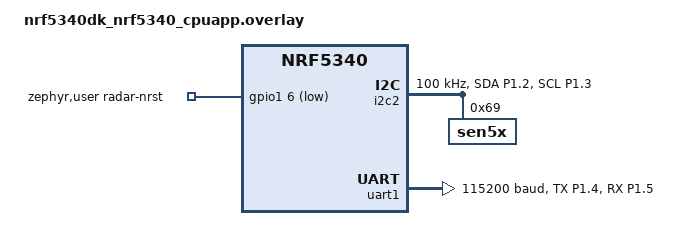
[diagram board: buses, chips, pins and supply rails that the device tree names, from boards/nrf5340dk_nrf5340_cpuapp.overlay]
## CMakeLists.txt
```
cmake_minimum_required(VERSION 3.20.0)
find_package(Zephyr REQUIRED HINTS $ENV{ZEPHYR_BASE})

project(nRF5340_Presence)

target_sources(app PRIVATE
    src/main.c
    src/radar.c
    src/sen5x.c
    src/tlv.c
    src/frame.c
    src/store.c
    src/ble.c
)
target_include_directories(app PRIVATE src)
```

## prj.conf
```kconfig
CONFIG_GPIO=y

# SEN5x on i2c2. No CONFIG_SENSOR: there is no in-tree SEN5x driver and
# src/sen5x.c talks to it directly, so the sensor subsystem would be dead code.
CONFIG_I2C=y

# uart1 -> IWRL6432. Interrupt driven with a ring buffer: at 115200 the byte
# rate is ~11 kB/s worst case, which the app core absorbs without DMA.
# ponytail: if the profile ever gets heavy enough to overrun, switch to
# CONFIG_UART_ASYNC_API and double-buffered DMA rather than raising the ring.
CONFIG_SERIAL=y
CONFIG_UART_INTERRUPT_DRIVEN=y
CONFIG_RING_BUFFER=y

# NVS write can run from the main thread here (nothing is time critical), but
# it plus printk wants more than the 1K default.
CONFIG_MAIN_STACK_SIZE=2048

# Occupancy records in internal flash (storage_partition, 160K)
CONFIG_FLASH=y
CONFIG_FLASH_MAP=y
CONFIG_FLASH_PAGE_LAYOUT=y
CONFIG_NVS=y
CONFIG_MPU_ALLOW_FLASH_WRITE=y

# Device id ("PR" + 6 hex of the factory id) for the frame and advertising name
CONFIG_HWINFO=y

# BLE peripheral. The controller runs on the network core - see Kconfig.sysbuild.
CONFIG_BT=y
CONFIG_BT_PERIPHERAL=y
CONFIG_BT_MAX_CONN=1
CONFIG_BT_DEVICE_NAME="SNTL"
CONFIG_BT_DEVICE_NAME_DYNAMIC=y
CONFIG_BT_DEVICE_NAME_MAX=16
CONFIG_HEAP_MEM_POOL_SIZE=2048

# App asks for MTU 247 after connecting; smaller still works, just slower.
CONFIG_BT_L2CAP_TX_MTU=247
CONFIG_BT_BUF_ACL_RX_SIZE=251
CONFIG_BT_BUF_ACL_TX_SIZE=251
CONFIG_BT_ATT_PREPARE_COUNT=2
```

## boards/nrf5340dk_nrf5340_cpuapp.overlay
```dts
/*
 * nRF5340 DK <-> IWRL6432BOOST (uart1) + Sensirion SEN5x (i2c2).
 *
 *   SEN5x pin      nRF5340 DK
 *   1 VDD      ->  5V   (P20 power header. NOT 3V3 - the fan and laser want
 *                        5 V +-10 %, and the DK's 5V comes straight off USB)
 *   2 GND      --  GND
 *   3 SDA      <-> P1.02  (Arduino "SDA")
 *   4 SCL      <-  P1.03  (Arduino "SCL")
 *   5 SEL      --  GND    (selects I2C, and it must already be low when the
 *                          sensor powers up - wire it, do not strap it later)
 *   6 NC       --  leave it
 *
 * Logic is 3.3 V tolerant, so no level shifter even though VDD is 5 V. The
 * datasheet asks for external 10k pull-ups on SDA/SCL; bias-pull-up below uses
 * the nRF's own ~13k, which is enough on a short bench lead and marginal on a
 * long one. Fit the 10k for anything that leaves the desk.
 *
 * Keep the shield of the sensor floating (datasheet 4): its metal can is tied
 * to pin 2 internally, and giving that a second path to ground can push current
 * through the case.
 *
 * Three wires plus ground. Two are not enough: the demo cannot be reconfigured
 * without a reset, so the nRF5340 has to drive NRST itself. Both sides are
 * 3.3 V logic, so no level shifter.
 *
 * All four come off the EVM's LP/BP connector (J8/J9) - no soldering. SWRU596
 * Figure 3-5 shows UART, RESET, SPI, I2C and SOP0/SOP1 routed there.
 *
 * Arduino labels are from the DK's own gpio-map (nrf5340dk_common.dtsi), and
 * they do not track the port pin numbers: D2 is P1.04, D3 is P1.05, D4 is
 * P1.06. Check that map before wiring by the silk screen - our TX landing on
 * the radar's TX gives a dead link that looks exactly like a missing ground.
 *
 *   nRF5340 DK          IWRL6432BOOST
 *   P1.04 (D2, TX)  ->  J8 pin 7   (DCA_LP_RS232_RX, radar input)
 *   P1.05 (D3, RX)  <-  J8 pin 5   (DCA_LP_RS232_TX, radar output)
 *   P1.06 (D4)      ->  J9 pin 10  (RADAR_NRST_2, open drain, active low)
 *   GND             --  J8 pin 4   (or J9 pin 2)
 *
 * J8 pin 4 is the ONLY ground on that header. Pin 2 is MCU_5V and pin 1 is
 * MCU_3V3 - both are LaunchPad-side power inputs, and both feed through DNP
 * resistors (R87, R132), so they sit floating and read as nothing. Grounding
 * there costs no damage and gives no ground: the two boards end up with no
 * shared reference and the link is dead with rx=0, which looks identical to
 * a wrong data pin. Schematic sheet 15 (SWRR180), verified pin by pin.
 *
 * Free pins were picked around what the DK already uses: LEDs P0.28-31,
 * buttons P0.08/09/23/24, i2c1 P1.02/03, spi4 P1.13-15. P1.00/P1.01 (D0/D1)
 * were the original choice and work equally well - moved off them only to rule
 * the header out during bring-up.
 *
 * NOTE: set S1.4 = ON on the EVM. It is a DIP switch, not a jumper. Per
 * SWRU596 Figure 4-1, S1.4 OFF sends the UART to XDS_RS232 (the on-board
 * XDS110 USB bridge) and S1.4 ON sends it to DCA_LP_RS232, which is the net
 * that reaches J8/J9. Left OFF, the XDS110 drives the radar's RX line and
 * fights this board's TX. J8/J9 pin numbers are not in SWRU596 - buzz them
 * out or read the EVM schematic before wiring.
 */
#include <zephyr/dt-bindings/pinctrl/nrf-pinctrl.h>
#include <zephyr/dt-bindings/gpio/gpio.h>

/ {
	/*
	 * NRST lives under zephyr,user rather than a node of its own: no driver
	 * owns this pin, radar.c just takes the gpio spec off it, and a bare
	 * node with no compatible has no binding, so its gpios cells never get
	 * generated. Active low because NRST is; the pin is configured open
	 * drain in code so the EVM's own reset circuit is never fought.
	 */
	zephyr,user {
		radar-nrst-gpios = <&gpio1 6 GPIO_ACTIVE_LOW>;   /* D4 */
	};
};

&pinctrl {
	uart1_radar: uart1_radar {
		group1 {
			psels = <NRF_PSEL(UART_TX, 1, 4)>;   /* D2 */
		};
		group2 {
			psels = <NRF_PSEL(UART_RX, 1, 5)>;   /* D3 */
			/*
			 * Idle high while the radar is in reset. Note R95/R96
			 * on the EVM already pull both RS232 lines to 3V3, but
			 * at 100k - too weak to hold the line against this
			 * pin's own pull-down, so the bias here has to be the
			 * pull-up and not merely absent.
			 *
			 * Flip this to bias-pull-down when hunting for the
			 * right hole on J8: radar.c prints rxpin= on a failed
			 * CLI line, and against a pull-down only an actively
			 * driven pin reads high. On J8 that is exactly two
			 * pins - 5 (the radar's TX) and 14 (PGOOD) - which is
			 * enough to fix both the column and the pin 1 end
			 * without a multimeter. With the pull-up in place
			 * every hole reads high and the readout is useless.
			 */
			bias-pull-up;
		};
	};

	uart1_radar_sleep: uart1_radar_sleep {
		group1 {
			psels = <NRF_PSEL(UART_TX, 1, 4)>,
				<NRF_PSEL(UART_RX, 1, 5)>;
			low-power-enable;
		};
	};

	/*
	 * Same two physical pins the DK silk-screens as SDA/SCL - only the
	 * peripheral behind them changes, since nRF pins are fully muxable.
	 */
	i2c2_sen5x: i2c2_sen5x {
		group1 {
			psels = <NRF_PSEL(TWIM_SDA, 1, 2)>,
				<NRF_PSEL(TWIM_SCL, 1, 3)>;
			bias-pull-up;
		};
	};

	i2c2_sen5x_sleep: i2c2_sen5x_sleep {
		group1 {
			psels = <NRF_PSEL(TWIM_SDA, 1, 2)>,
				<NRF_PSEL(TWIM_SCL, 1, 3)>;
			low-power-enable;
		};
	};
};

/*
 * 115200 and no flow control. The demo's cfg can switch itself to 1250000, but
 * this build does not send that line: Zephyr's nrfx uart driver has no table
 * entry for 1250000, and with the range profile TLV turned off the stream is a
 * few hundred bytes per frame at 4 fps - about 3% of what 115200 carries.
 */
/*
 * On the nRF5340, uart1/spi1/i2c1 are three faces of one peripheral instance
 * (SERIAL1 at 0x40009000). The DK board files leave i2c1 enabled for the
 * Arduino header, so with uart1 also on it the two nodes claim the same
 * hardware. That used to be harmless here because CONFIG_I2C was off; the
 * SEN5x turned it on, which is exactly the moment the two start fighting. The
 * sensor therefore hangs off i2c2 (SERIAL2 at 0x4000B000, otherwise unused on
 * this board) driven out to the same two header pins.
 */
&i2c1 {
	status = "disabled";
};

&i2c2 {
	status = "okay";
	/* Standard mode is all the SEN5x supports, and it does not clock
	 * stretch (datasheet 6). */
	clock-frequency = <100000>;
	pinctrl-0 = <&i2c2_sen5x>;
	pinctrl-1 = <&i2c2_sen5x_sleep>;
	pinctrl-names = "default", "sleep";

	/* No compatible: there is no in-tree SEN5x driver and src/sen5x.c
	 * speaks the three commands it needs directly. The node exists so the
	 * address and the bus come from devicetree rather than a #define. */
	sen5x: sen5x@69 {
		reg = <0x69>;
	};
};

&uart1 {
	status = "okay";
	current-speed = <115200>;
	pinctrl-0 = <&uart1_radar>;
	pinctrl-1 = <&uart1_radar_sleep>;
	pinctrl-names = "default", "sleep";
	/delete-property/ hw-flow-control;
};

/*
 * 24 h of records is 2880 * (24 B struct + 8 B NVS overhead) = ~90 KB at the
 * 30 s test period, so the board default 32 KB storage_partition would not even
 * hold the data, let alone leave room for garbage collection. Take the space
 * from slot1_partition, the MCUboot secondary slot, which is dead weight here -
 * this build has no DFU.
 *
 * 90 KB of 160 KB is the tightest this gets: at the intended 60 s period it is
 * 45 KB. NVS needs a spare sector to garbage-collect into and gets 17 of them
 * here, so even the test period has margin - but do not shorten the period
 * further without redoing this sum.
 *
 *   slot1   0x84000 .. 0xD8000  (336K, was 464K)
 *   storage 0xD8000 .. 0x100000 (160K, was 32K)
 */
&slot1_partition {
	reg = <0x00084000 0x00054000>;
};

&storage_partition {
	reg = <0x000d8000 0x00028000>;
};
```

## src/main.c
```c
/*
 * Presence + air quality node: IWRL6432BOOST mmWave radar over uart1, Sensirion
 * SEN5x over i2c2.
 *
 * - one record per STORE_PERIOD_S into flash (24 h ring), handed out over BLE
 * - the radar does all the signal processing on its own Cortex-M4F and sends
 *   only results, so this core does framing, counting and storage - nothing
 *   here is real-time critical
 * - the two sensors fail independently and each has its own flag; neither
 *   failure suppresses the other's numbers
 *
 * There is no calendar clock on this chip: RTC0/RTC1 are plain 32.768 kHz
 * counters and the DK has no battery-backed RTC, so every record carries
 * SNTL_FLAG_RTC_UNSET and ts is device seconds since first boot. The receiver
 * back-computes: real time = download time - (now_ts - record_ts).
 */
#include <zephyr/kernel.h>
#include <zephyr/drivers/gpio.h>
#include <zephyr/sys/printk.h>

#include "ble.h"
#include "frame.h"
#include "radar.h"
#include "sen5x.h"
#include "store.h"

/* DK "Button 1" (P0.23) - opens the BLE advertising window on press. */
static const struct gpio_dt_spec adv_btn = GPIO_DT_SPEC_GET(DT_ALIAS(sw0), gpios);
static struct gpio_callback adv_btn_cb;

/* DK "Button 2" - held at boot, runs probe_mode() instead of the app. */
static const struct gpio_dt_spec probe_btn = GPIO_DT_SPEC_GET(DT_ALIAS(sw1), gpios);

/*
 * Bring-up aid: find the right hole on the EVM's J8 header without a
 * multimeter. Reconfigures the uart1 RX pin as a plain input with a pull-down
 * and reports its level, so a hole that reads HIGH is one something is
 * actively driving. On a running EVM that is only the radar's TX, which idles
 * high - ground pins and the DNP pins all read low against the pull-down.
 * Touch the holes with the RX wire and watch.
 *
 * The uart1 driver has already claimed this pin through pinctrl by now; the
 * GPIO config below rewrites the same PIN_CNF register, and radar_start() is
 * never reached in this mode, so nothing fights over it.
 *
 * ponytail: pin hardcoded to match the uart1_radar RX psel in the overlay.
 * One pin used in one place - move both together if the RX pin moves.
 */
#define PROBE_PIN 5   /* P1.05, the uart1 RX pin */

static void probe_mode(void)
{
	const struct device *p1 = DEVICE_DT_GET(DT_NODELABEL(gpio1));
	int last = -1;

	printk("[PROBE] P1.05 as input with pull-down.\n");
	printk("[PROBE] touch J8 holes with the RX wire - HIGH means driven.\n");

	if (!device_is_ready(p1) ||
	    gpio_pin_configure(p1, PROBE_PIN, GPIO_INPUT | GPIO_PULL_DOWN)) {
		printk("[PROBE] cannot claim the pin\n");
		return;
	}
	while (1) {
		int v = gpio_pin_get_raw(p1, PROBE_PIN);

		if (v != last) {
			printk("[PROBE] %s\n",
			       v ? "HIGH  <-- driven, this is the hole" : "low");
			last = v;
		}
		k_msleep(200);
	}
}

/* No debounce: a bounce just re-arms the same 20 s window, which is what a
 * second press would do anyway. */
static void adv_btn_pressed(const struct device *dev, struct gpio_callback *cb, uint32_t pins)
{
	ARG_UNUSED(dev); ARG_UNUSED(cb); ARG_UNUSED(pins);
	ble_advertise_window();
}

static int adv_btn_init(void)
{
	int err;

	if (!gpio_is_ready_dt(&adv_btn)) {
		return -ENODEV;
	}
	err = gpio_pin_configure_dt(&adv_btn, GPIO_INPUT);
	if (err) {
		return err;
	}
	err = gpio_pin_interrupt_configure_dt(&adv_btn, GPIO_INT_EDGE_TO_ACTIVE);
	if (err) {
		return err;
	}
	gpio_init_callback(&adv_btn_cb, adv_btn_pressed, BIT(adv_btn.pin));
	return gpio_add_callback(adv_btn.port, &adv_btn_cb);
}

/* Turn the last window into one record and write it. */
static void window_flush(void)
{
	struct radar_window w;
	struct sen5x_window aq;
	struct sntl_record rec = { 0 };
	int err;

	radar_window_take(&w);
	sen5x_window_take(&aq);

	rec.headcount = w.headcount;
	rec.occ_s = w.occ_s;
	rec.dwell_s = w.dwell_s;

	rec.pm25 = aq.pm25;
	rec.pm10 = aq.pm10;
	rec.temp = aq.temp;
	rec.rh = aq.rh;
	rec.voc = aq.voc;

	if (!w.alive) {
		/* Tag it, never drop it - this is safety-management data. */
		rec.flags |= SNTL_FLAG_SENSOR_FAULT;
	}
	if (!aq.alive) {
		rec.flags |= SNTL_FLAG_AQ_FAULT;
	}
	if (!w.tracker) {
		/* headcount is a floor (0 or 1), not a count. */
		rec.flags |= SNTL_FLAG_NO_TRACKER;
	}
	rec.flags |= SNTL_FLAG_RTC_UNSET;   /* no time source on this board */
	/* DK runs off USB and has no battery gauge. Report full rather than a
	 * made up number; wire an ADC divider here for a real product. */
	rec.batt = 100;

	err = store_append(&rec);
	if (err) {
		printk("[STORE] append failed (%d)\n", err);
		return;
	}
	printk("[STORE] %us  headcount %u%s  occupied %us/%us  dwell %us",
	       rec.ts, rec.headcount, w.tracker ? "" : " (no tracker)",
	       rec.occ_s, STORE_PERIOD_S, rec.dwell_s);

	if (rec.pm25 == SNTL_AQ_UNKNOWN_U) {
		printk("  air: no data\n");
	} else {
		/* Split the sign off before dividing: -0.43 C is temp = -43, and
		 * -43/100 is 0, so "%d.%02d" would print it as 0.43. */
		int t = (rec.temp == SNTL_AQ_UNKNOWN_S) ? 0 : rec.temp;
		int ta = (t < 0) ? -t : t;

		printk("  pm2.5 %u.%u  pm10 %u.%u  %s%d.%02d C  %d.%d%%RH",
		       rec.pm25 / 10, rec.pm25 % 10, rec.pm10 / 10, rec.pm10 % 10,
		       (t < 0) ? "-" : "", ta / 100, ta % 100,
		       (rec.rh == SNTL_AQ_UNKNOWN_S) ? 0 : rec.rh / 100,
		       (rec.rh == SNTL_AQ_UNKNOWN_S) ? 0 : (rec.rh / 10) % 10);

		/* A SEN50 has no gas sensor, so this stays "--" there for good.
		 * On a SEN54/55 it climbs from 0 to about 100 over the first few
		 * minutes - that is the index algorithm learning its baseline,
		 * not a fault. */
		if (rec.voc == SNTL_AQ_UNKNOWN_S) {
			printk("  voc --");
		} else {
			printk("  voc %d.%d", rec.voc / 10, rec.voc % 10);
		}
		printk("%s\n", (rec.flags & SNTL_FLAG_AQ_FAULT) ? "  AQ_FAULT" : "");
	}
}

int main(void)
{
	int64_t next_tick;
	uint32_t sec = 0;
	int err;

	printk("\n");
	printk("========================================\n");
	printk("   Presence node: IWRL6432 mmWave\n");
	printk("========================================\n");

	/* gpio_pin_get_dt() is logical, and the DK's buttons are ACTIVE_LOW, so
	 * held reads 1. Not held: fall through and run the app as usual. */
	if (gpio_is_ready_dt(&probe_btn) &&
	    gpio_pin_configure_dt(&probe_btn, GPIO_INPUT) == 0 &&
	    gpio_pin_get_dt(&probe_btn) == 1) {
		probe_mode();   /* never returns */
	}

	err = store_init();
	if (err) {
		printk("[ERROR] store init failed (%d) - nothing will be recorded\n", err);
	} else {
		printk("[READY] store: next seq %u, oldest %u, t=%u s\n",
		       store_next_seq(), store_oldest_seq(), store_now());
	}

	err = ble_start();
	if (err) {
		printk("[ERROR] BLE start failed (%d)\n", err);
	}

	err = adv_btn_init();
	if (err) {
		printk("[WARN ] Button 1 not available (%d) - no way to advertise\n", err);
	}

	err = radar_start();
	if (err) {
		printk("[ERROR] radar start failed (%d) - check uart1 and NRST wiring\n", err);
	}

	/* Not fatal either: a node with a dead SEN5x still records occupancy,
	 * and every record it writes says so through SNTL_FLAG_AQ_FAULT. */
	err = sen5x_start();
	if (err) {
		printk("[ERROR] SEN5x start failed (%d) - air quality will read unknown\n", err);
	}

	/* Absolute cadence rather than k_msleep(1000) at the end, so a slow NVS
	 * write does not stretch the record period. */
	next_tick = k_uptime_get() + 1000;

	while (1) {
		/* ~20 ms on the bus; the absolute cadence below absorbs it. */
		sen5x_poll();

		if (++sec >= STORE_PERIOD_S) {
			sec = 0;
			window_flush();
		}

		int64_t delay = next_tick - k_uptime_get();

		if (delay > 0) {
			k_msleep((int32_t)delay);
		}
		next_tick += 1000;
	}

	return 0;
}
```

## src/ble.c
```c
#include <zephyr/kernel.h>
#include <zephyr/bluetooth/bluetooth.h>
#include <zephyr/bluetooth/conn.h>
#include <zephyr/bluetooth/gatt.h>
#include <zephyr/bluetooth/uuid.h>
#include <zephyr/drivers/hwinfo.h>
#include <zephyr/sys/printk.h>
#include <errno.h>
#include <stdio.h>
#include <string.h>

#include "ble.h"
#include "store.h"

/* NUS-shaped UUIDs but this is not NUS - the app keys off these exact values. */
#define SNTL_UUID_SVC  BT_UUID_128_ENCODE(0x6e400001, 0xb5a3, 0xf393, 0xe0a9, 0xe50e24dcca9e)
#define SNTL_UUID_CTRL BT_UUID_128_ENCODE(0x6e400002, 0xb5a3, 0xf393, 0xe0a9, 0xe50e24dcca9e)
#define SNTL_UUID_DATA BT_UUID_128_ENCODE(0x6e400003, 0xb5a3, 0xf393, 0xe0a9, 0xe50e24dcca9e)

static const struct bt_uuid_128 uuid_svc  = BT_UUID_INIT_128(SNTL_UUID_SVC);
static const struct bt_uuid_128 uuid_ctrl = BT_UUID_INIT_128(SNTL_UUID_CTRL);
static const struct bt_uuid_128 uuid_data = BT_UUID_INIT_128(SNTL_UUID_DATA);

static char device_id[SNTL_DEVICE_ID_LEN + 1];
static struct bt_conn *current_conn;
static volatile bool notify_enabled;

/* Dump runs on its own thread: it can take seconds over the air, and it must
 * not sit on the BLE RX callback. */
#define DUMP_STACK_SIZE 2048
#define DUMP_PRIORITY   7

K_SEM_DEFINE(dump_req, 0, 1);
static uint32_t dump_first_seq;

const char *ble_device_id(void)
{
	return device_id;
}

/* Prefix + 6 hex from the factory device id = exactly 8 bytes, so the frame
 * field and the advertising name are the same string with no truncation. */
static void device_id_init(void)
{
	uint8_t hw[8] = {0};
	ssize_t n = hwinfo_get_device_id(hw, sizeof(hw));
	uint32_t tail;

	if (n < 3) {
		tail = 0;
	} else {
		tail = ((uint32_t)hw[n - 3] << 16) | ((uint32_t)hw[n - 2] << 8) | hw[n - 1];
	}
	snprintf(device_id, sizeof(device_id), BLE_ID_PREFIX "%06X",
		 (unsigned int)(tail & 0xFFFFFF));
}

static const struct bt_data ad[] = {
	BT_DATA_BYTES(BT_DATA_FLAGS, (BT_LE_AD_GENERAL | BT_LE_AD_NO_BREDR)),
	BT_DATA_BYTES(BT_DATA_UUID128_ALL, SNTL_UUID_SVC),
};

/* Name goes in the scan response - the 128-bit UUID already fills the 31 byte
 * advertising payload. */
static struct bt_data sd[] = {
	BT_DATA(BT_DATA_NAME_COMPLETE, device_id, SNTL_DEVICE_ID_LEN),
};

static ssize_t ctrl_write(struct bt_conn *conn, const struct bt_gatt_attr *attr,
			  const void *buf, uint16_t len, uint16_t offset, uint8_t flags)
{
	uint32_t first_seq;

	ARG_UNUSED(conn); ARG_UNUSED(attr); ARG_UNUSED(flags);

	if (offset != 0) {
		return BT_GATT_ERR(BT_ATT_ERR_INVALID_OFFSET);
	}
	if (!sntl_parse_cmd(buf, len, &first_seq)) {
		return BT_GATT_ERR(BT_ATT_ERR_VALUE_NOT_ALLOWED);
	}

	dump_first_seq = first_seq;
	k_sem_give(&dump_req);
	printk("[BLE  ] dump requested from seq %u\n", first_seq);
	return len;
}

static void ccc_changed(const struct bt_gatt_attr *attr, uint16_t value)
{
	ARG_UNUSED(attr);
	notify_enabled = (value == BT_GATT_CCC_NOTIFY);
}

BT_GATT_SERVICE_DEFINE(sntl_svc,
	BT_GATT_PRIMARY_SERVICE(&uuid_svc),
	BT_GATT_CHARACTERISTIC(&uuid_ctrl.uuid,
			       BT_GATT_CHRC_WRITE, BT_GATT_PERM_WRITE,
			       NULL, ctrl_write, NULL),
	BT_GATT_CHARACTERISTIC(&uuid_data.uuid,
			       BT_GATT_CHRC_NOTIFY, BT_GATT_PERM_NONE,
			       NULL, NULL, NULL),
	BT_GATT_CCC(ccc_changed, BT_GATT_PERM_READ | BT_GATT_PERM_WRITE),
);

#define DATA_ATTR (&sntl_svc.attrs[3])

/* Push one chunk, retrying while the controller's buffers are full. */
static int notify_chunk(struct bt_conn *conn, const uint8_t *data, uint16_t len)
{
	int err;

	while ((err = bt_gatt_notify(conn, DATA_ATTR, data, len)) == -ENOMEM) {
		k_msleep(2);
		if (!current_conn) {
			return -ENOTCONN;
		}
	}
	return err;
}

/*
 * Stream one frame: header, then records, then CRC. The frame is emitted
 * straight into MTU-sized notifications with no per-chunk framing - the app
 * concatenates and uses the header's record count to find the end. A full day
 * is ~69 KB, so it is built incrementally rather than buffered.
 */
static void dump_run(struct bt_conn *conn, uint32_t first_seq)
{
	uint8_t buf[244];
	uint16_t mtu, chunk, fill = 0;
	uint16_t crc = 0xFFFF;
	uint32_t start, seq;
	uint16_t count;

	count = sntl_dump_range(first_seq, store_oldest_seq(), store_next_seq(), &start);

	mtu = bt_gatt_get_mtu(conn);
	chunk = (mtu > 3) ? (uint16_t)(mtu - 3) : 20;
	if (chunk > sizeof(buf)) {
		chunk = sizeof(buf);
	}

	/* header */
	sntl_encode_header(buf, count, device_id);
	fill = SNTL_HEADER_SIZE;
	crc = sntl_crc16(crc, buf, fill);

	for (seq = start; seq < start + count; seq++) {
		struct sntl_record rec;

		if (store_get(seq, &rec) != 0) {
			/* Recycled under us - send zeros rather than desync the
			 * record count the app is counting down. */
			memset(&rec, 0, sizeof(rec));
			rec.seq = seq;
			rec.flags = SNTL_FLAG_SENSOR_FAULT | SNTL_FLAG_AQ_FAULT;
			/* Zeroed air quality would read as pristine air. */
			rec.pm25 = SNTL_AQ_UNKNOWN_U;
			rec.pm10 = SNTL_AQ_UNKNOWN_U;
			rec.temp = SNTL_AQ_UNKNOWN_S;
			rec.rh   = SNTL_AQ_UNKNOWN_S;
			rec.voc  = SNTL_AQ_UNKNOWN_S;
		}

		if (fill + SNTL_RECORD_SIZE > chunk) {
			if (notify_chunk(conn, buf, fill) < 0) {
				return;
			}
			fill = 0;
		}
		sntl_encode_record(buf + fill, &rec);
		crc = sntl_crc16(crc, buf + fill, SNTL_RECORD_SIZE);
		fill += SNTL_RECORD_SIZE;
	}

	/* trailing CRC, split across a chunk boundary if it lands there */
	if (fill + SNTL_CRC_SIZE > chunk) {
		if (notify_chunk(conn, buf, fill) < 0) {
			return;
		}
		fill = 0;
	}
	buf[fill++] = (uint8_t)(crc & 0xFF);
	buf[fill++] = (uint8_t)(crc >> 8);

	if (notify_chunk(conn, buf, fill) < 0) {
		return;
	}
	printk("[BLE  ] dump sent: %u records from seq %u\n", count, start);
}

static void dump_thread(void *a, void *b, void *c)
{
	ARG_UNUSED(a); ARG_UNUSED(b); ARG_UNUSED(c);

	while (1) {
		k_sem_take(&dump_req, K_FOREVER);
		if (current_conn && notify_enabled) {
			dump_run(current_conn, dump_first_seq);
		}
	}
}

K_THREAD_DEFINE(dump_tid, DUMP_STACK_SIZE, dump_thread, NULL, NULL, NULL,
		DUMP_PRIORITY, 0, 0);

/* ---------------- advertising window ----------------
 * Connectable advertising stops by itself the moment a central connects, so
 * without the restart below the node would be invisible after the first
 * session until the next reset. The window bounds how long it stays visible. */
static volatile bool adv_window_open;

static void adv_start(void)
{
	int err = bt_le_adv_start(BT_LE_ADV_CONN_FAST_1, ad, ARRAY_SIZE(ad),
				  sd, ARRAY_SIZE(sd));

	if (err == -EALREADY) {
		return;
	}
	if (err) {
		printk("[BLE  ] adv start failed (%d)\n", err);
		return;
	}
	printk("[BLE  ] advertising as %s for %d s\n", device_id, BLE_ADV_WINDOW_S);
}

static void adv_on_fn(struct k_work *w)
{
	ARG_UNUSED(w);
	adv_start();
}
static K_WORK_DEFINE(adv_on_work, adv_on_fn);

static void adv_off_fn(struct k_work *w)
{
	ARG_UNUSED(w);
	adv_window_open = false;
	bt_le_adv_stop();   /* does not drop an established connection */
	printk("[BLE  ] advertising window closed\n");
}
static K_WORK_DELAYABLE_DEFINE(adv_off_work, adv_off_fn);

void ble_advertise_window(void)
{
	adv_window_open = true;
	k_work_submit(&adv_on_work);
	k_work_reschedule(&adv_off_work, K_SECONDS(BLE_ADV_WINDOW_S));
}

static void connected(struct bt_conn *conn, uint8_t err)
{
	if (err) {
		printk("[BLE  ] connect failed (%u)\n", err);
		return;
	}
	current_conn = bt_conn_ref(conn);
	printk("[BLE  ] connected\n");
}

static void disconnected(struct bt_conn *conn, uint8_t reason)
{
	ARG_UNUSED(conn);
	printk("[BLE  ] disconnected (0x%02x)\n", reason);
	notify_enabled = false;
	if (current_conn) {
		bt_conn_unref(current_conn);
		current_conn = NULL;
	}
	if (adv_window_open) {
		k_work_submit(&adv_on_work);   /* still inside the window */
	}
}

BT_CONN_CB_DEFINE(conn_callbacks) = {
	.connected = connected,
	.disconnected = disconnected,
};

int ble_start(void)
{
	int err;

	device_id_init();

	err = bt_enable(NULL);
	if (err) {
		return err;
	}

	err = bt_set_name(device_id);
	if (err) {
		printk("[BLE  ] bt_set_name failed (%d)\n", err);
	}

	printk("[READY] BLE up as %s - press Button 1 to advertise\n", device_id);
	return 0;
}
```

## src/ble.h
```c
/*
 * SNTL BLE GATT service: advertises, takes dump commands on the control
 * characteristic, streams frames out on the data characteristic.
 *
 * Same service and UUIDs as the air-quality node, so one app talks to both.
 * What differs is the device id prefix (below) and the frame version byte.
 */
#ifndef BLE_H_
#define BLE_H_

#include "frame.h"

/*
 * Device id = this prefix + 6 hex of the factory id, exactly 8 bytes so it also
 * serves as the advertising name with no truncation. "PR" (presence) rather
 * than the air node's "SL" so the two are told apart in the scan list; flip it
 * back if the app or server filters on "SL".
 */
#define BLE_ID_PREFIX "PR"

/* 8 ASCII chars, NUL terminated. Same string is used as the advertising name -
 * the app matches on it to know how far it already got. */
const char *ble_device_id(void);

/* Brings up the stack. Does NOT advertise - call ble_advertise_window(). */
int ble_start(void);

/* Advertise for BLE_ADV_WINDOW_S, restarting after a disconnect until the
 * window expires. Pressing again re-arms it. Safe to call from an ISR. */
#define BLE_ADV_WINDOW_S 20
void ble_advertise_window(void);

#endif /* BLE_H_ */
```

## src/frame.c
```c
#include <string.h>

#include "frame.h"

uint16_t sntl_crc16(uint16_t seed, const uint8_t *data, size_t len)
{
	uint16_t crc = seed;

	while (len--) {
		crc ^= (uint16_t)(*data++) << 8;
		for (int i = 0; i < 8; i++) {
			crc = (crc & 0x8000u) ? (uint16_t)((crc << 1) ^ 0x1021u)
					      : (uint16_t)(crc << 1);
		}
	}
	return crc;
}

void sntl_encode_header(uint8_t *out, uint16_t record_count, const char *device_id)
{
	memcpy(out, SNTL_MAGIC, 4);
	out[4] = SNTL_VERSION;
	out[5] = SNTL_RECORD_SIZE;
	out[6] = (uint8_t)(record_count & 0xFF);
	out[7] = (uint8_t)(record_count >> 8);

	/* zero padded, never NUL-terminated-and-then-garbage */
	memset(out + 8, 0, SNTL_DEVICE_ID_LEN);
	for (size_t i = 0; i < SNTL_DEVICE_ID_LEN && device_id[i] != '\0'; i++) {
		out[8 + i] = (uint8_t)device_id[i];
	}
}

void sntl_encode_record(uint8_t *out, const struct sntl_record *rec)
{
	out[0]  = (uint8_t)(rec->seq);
	out[1]  = (uint8_t)(rec->seq >> 8);
	out[2]  = (uint8_t)(rec->seq >> 16);
	out[3]  = (uint8_t)(rec->seq >> 24);
	out[4]  = (uint8_t)(rec->ts);
	out[5]  = (uint8_t)(rec->ts >> 8);
	out[6]  = (uint8_t)(rec->ts >> 16);
	out[7]  = (uint8_t)(rec->ts >> 24);
	out[8]  = rec->headcount;
	out[9]  = rec->occ_s;
	out[10] = (uint8_t)(rec->dwell_s);
	out[11] = (uint8_t)(rec->dwell_s >> 8);
	out[12] = rec->flags;
	out[13] = rec->batt;
	out[14] = (uint8_t)(rec->pm25);
	out[15] = (uint8_t)(rec->pm25 >> 8);
	out[16] = (uint8_t)(rec->pm10);
	out[17] = (uint8_t)(rec->pm10 >> 8);
	out[18] = (uint8_t)(rec->temp);
	out[19] = (uint8_t)((uint16_t)rec->temp >> 8);
	out[20] = (uint8_t)(rec->rh);
	out[21] = (uint8_t)((uint16_t)rec->rh >> 8);
	out[22] = (uint8_t)(rec->voc);
	out[23] = (uint8_t)((uint16_t)rec->voc >> 8);
}

size_t sntl_frame_size(uint16_t record_count)
{
	return SNTL_HEADER_SIZE + (size_t)record_count * SNTL_RECORD_SIZE + SNTL_CRC_SIZE;
}

int sntl_parse_cmd(const uint8_t *buf, size_t len, uint32_t *first_seq)
{
	if (len != SNTL_CMD_LEN || buf[0] != SNTL_CMD_DUMP) {
		return 0;
	}
	*first_seq = (uint32_t)buf[1] | ((uint32_t)buf[2] << 8) |
		     ((uint32_t)buf[3] << 16) | ((uint32_t)buf[4] << 24);
	return 1;
}

uint16_t sntl_dump_range(uint32_t first_seq, uint32_t oldest_seq, uint32_t next_seq,
			 uint32_t *start_seq)
{
	uint32_t start = (first_seq > oldest_seq) ? first_seq : oldest_seq;
	uint32_t count;

	if (start >= next_seq) {
		*start_seq = next_seq;
		return 0;
	}
	count = next_seq - start;
	if (count > UINT16_MAX) {
		count = UINT16_MAX;   /* recordCount is uint16 on the wire */
	}
	*start_seq = start;
	return (uint16_t)count;
}
```

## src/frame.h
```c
/*
 * SNTL wire frame - node to app. Version 3: presence + air quality.
 *
 * Same envelope throughout the family - magic, header, fixed records, trailing
 * CRC. The version byte says which record shape follows, and it has to: v1 (the
 * air-quality node, nRF5340_Wearable) and v2 (presence only) are both 14 bytes,
 * so length alone will not tell them apart.
 *
 * v3 = v2's 14 bytes unchanged, with the SEN5x fields appended. A reader that
 * already decodes v2 keeps every offset it has and only gains a tail; one that
 * does not care about air quality can read a v3 record as a v2 record by
 * ignoring bytes 14..23.
 *
 * Deliberately plain C (stdint/string only, no Zephyr) so tests/test_frame.c
 * can build and run on the host. Do not add Zephyr includes here.
 *
 * Frame layout, all integers little-endian:
 *   header 16 B | record 24 B x recordCount | crc16 2 B
 * The CRC covers everything from the first header byte up to (not including)
 * the CRC itself.
 */
#ifndef FRAME_H_
#define FRAME_H_

#include <stdint.h>
#include <stddef.h>

#define SNTL_MAGIC          "SNTL"
#define SNTL_VERSION        3
#define SNTL_RECORD_SIZE    24
#define SNTL_HEADER_SIZE    16
#define SNTL_CRC_SIZE       2
#define SNTL_DEVICE_ID_LEN  8

/*
 * "Not measured", passed straight through from the SEN5x. A SEN50 has no
 * RH/T/gas and a SEN54 has no NOx; both answer 0xFFFF for what they lack, as
 * does any of them before its first conversion. Signed fields use INT16_MAX
 * because 0xFFFF reads as -1 there, and -0.01 C is a plausible temperature.
 * Mirrors SEN5X_UNKNOWN_U/_S - kept spelled out here so a reader of the wire
 * format does not have to go find the driver.
 */
#define SNTL_AQ_UNKNOWN_U   0xFFFF
#define SNTL_AQ_UNKNOWN_S   0x7FFF

/* Control characteristic command: 0x01 then uint32 LE firstSeq. */
#define SNTL_CMD_DUMP       0x01
#define SNTL_CMD_LEN        5

/* record flags */
#define SNTL_FLAG_SENSOR_FAULT        0x01   /* no radar frames in the window */
#define SNTL_FLAG_LOW_BATTERY         0x02
#define SNTL_FLAG_RTC_UNSET           0x04
#define SNTL_FLAG_CALIBRATING         0x08
/*
 * The tracker was not running, so headcount is a floor, not a count: it is 1
 * whenever the device-side presence zones report any motion and 0 otherwise.
 * The server must not add these up as people.
 */
#define SNTL_FLAG_NO_TRACKER          0x20
/*
 * The SEN5x did not answer this window, or it did and its status register
 * reported a fan or laser fault. Separate from SENSOR_FAULT, which is the
 * radar: one node now carries two sensors that fail independently, and a dead
 * fan reads as clean air, so this cannot share a bit with anything.
 * The PM fields are still sent when this is set - tag, never drop.
 */
#define SNTL_FLAG_AQ_FAULT            0x40

struct sntl_record {
	uint32_t seq;
	uint32_t ts;         /* UTC unix seconds; RTC_UNSET flag if not trustworthy */
	uint8_t  headcount;  /* most people seen at once during the window */
	uint8_t  occ_s;      /* seconds of the window that were occupied, 0..255 */
	uint16_t dwell_s;    /* unbroken occupancy at the end of the window */
	uint8_t  flags;
	uint8_t  batt;       /* percent, 0..100 */
	/* --- v3, SEN5x. Peak over the window for PM, last sample for the rest. --- */
	uint16_t pm25;       /* 0.1 ug/m3 */
	uint16_t pm10;       /* 0.1 ug/m3 */
	int16_t  temp;       /* 0.01 C */
	int16_t  rh;         /* 0.01 %RH */
	int16_t  voc;        /* 0.1 VOC index */
};

/*
 * CRC-16/CCITT-FALSE: poly 0x1021, init 0xFFFF, no reflection, no final XOR.
 * Call with seed 0xFFFF and chain across chunks to CRC a streamed frame.
 * Check vector: "123456789" -> 0x29B1.
 */
uint16_t sntl_crc16(uint16_t seed, const uint8_t *data, size_t len);

/* out must be SNTL_HEADER_SIZE bytes. device_id is ASCII, zero padded to 8. */
void sntl_encode_header(uint8_t *out, uint16_t record_count, const char *device_id);

/* out must be SNTL_RECORD_SIZE bytes. */
void sntl_encode_record(uint8_t *out, const struct sntl_record *rec);

/* Total frame length for a given record count. */
size_t sntl_frame_size(uint16_t record_count);

/* Parse a control write. Returns 1 and sets *first_seq on a valid dump
 * command, 0 otherwise. */
int sntl_parse_cmd(const uint8_t *buf, size_t len, uint32_t *first_seq);

/*
 * How many records a dump answers with, and where it starts.
 * The selection is seq >= first_seq (inclusive - an app with nothing stored
 * sends first_seq = 0 and must still get record 0), clamped to what the ring
 * still holds. Returns the count; *start_seq gets the first seq to send.
 * Kept here rather than in the BLE code so the boundaries are host-testable.
 */
uint16_t sntl_dump_range(uint32_t first_seq, uint32_t oldest_seq, uint32_t next_seq,
			 uint32_t *start_seq);

#endif /* FRAME_H_ */
```

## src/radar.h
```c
/*
 * IWRL6432 link: reset, push the cfg over UART, then parse the TLV stream and
 * accumulate occupancy until someone takes the window.
 */
#ifndef RADAR_H_
#define RADAR_H_

#include <stdbool.h>
#include <stdint.h>

struct radar_window {
	uint8_t  headcount;   /* most targets seen at once during the window */
	uint8_t  occ_s;       /* seconds of the window that were occupied */
	uint16_t dwell_s;     /* unbroken occupancy at the moment of the take */
	bool     alive;       /* any frame arrived at all */
	bool     tracker;     /* headcount came from the tracker, not presence.
			       * False means it is a floor (0 or 1), not a count. */
};

/* Spawns the radar thread. Returns before the sensor is configured - it takes
 * a few seconds of CLI, and the thread retries on its own if it fails. */
int radar_start(void);

/* Snapshot the accumulators and reset them for the next window. */
void radar_window_take(struct radar_window *out);

#endif /* RADAR_H_ */
```

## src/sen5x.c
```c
/*
 * SEN5x over I2C. Datasheet "Environmental Sensor Node SEN5x", version 2 - D1,
 * section 6: address 0x69, standard mode only (100 kbit/s), no clock
 * stretching, every 16-bit word followed by a CRC-8.
 */
#include <zephyr/kernel.h>
#include <zephyr/drivers/i2c.h>
#include <zephyr/sys/printk.h>
#include <errno.h>
#include <string.h>

#include "sen5x.h"

#define CMD_START_MEASUREMENT  0x0021
#define CMD_READ_MEASURED      0x03C4
#define CMD_READ_PRODUCT_NAME  0xD014
#define CMD_READ_STATUS        0xD206

/*
 * Device Status Register bits (5.4) that make the PM number a lie: FAN (4) is
 * "fan switched on and measured 0 RPM", LASER (5) is "laser current out of
 * range". Both latch, both mean no air is being sampled - which reads as clean
 * air, the one failure this must never report silently.
 *
 * SPEED (21) is deliberately not here: it sets during fan spin-up and at
 * temperature extremes and clears itself once the fan reaches speed.
 * RHT (6) and GAS (7) are not here either - they only break temp/rh/voc, and
 * those already come back as 0xFFFF when they do.
 */
#define STATUS_FATAL   (BIT(4) | BIT(5))

/* Longest read we make is the 32-char product name: 16 words, 48 bytes. */
#define MAX_WORDS  16

static const struct i2c_dt_spec bus = I2C_DT_SPEC_GET(DT_NODELABEL(sen5x));
static bool running;
static struct sen5x_window acc;

/* CRC-8, poly 0x31, init 0xFF, no reflection, no final XOR. CRC(0xBEEF)=0x92. */
static uint8_t crc8(const uint8_t *d)
{
	uint8_t crc = 0xFF;

	for (int i = 0; i < 2; i++) {
		crc ^= d[i];
		for (int b = 0; b < 8; b++) {
			crc = (crc & 0x80) ? (uint8_t)((crc << 1) ^ 0x31)
					   : (uint8_t)(crc << 1);
		}
	}
	return crc;
}

static int send_cmd(uint16_t c)
{
	uint8_t b[2] = { (uint8_t)(c >> 8), (uint8_t)c };

	/* The command code carries its own 3-bit CRC, so no checksum byte. */
	return i2c_write_dt(&bus, b, sizeof(b));
}

/*
 * Command, wait, read back `words` CRC-checked 16-bit words.
 *
 * Two transactions with a delay between them, not i2c_write_read_dt(): 6.1.5
 * asks for 20 ms between the command and the read header so the module can
 * fill its buffer, and the part does not clock-stretch to enforce it. A
 * repeated start returns whatever was in the buffer last time.
 */
static int read_words(uint16_t c, uint16_t *out, int words)
{
	uint8_t raw[3 * MAX_WORDS];
	int err = send_cmd(c);

	if (err) {
		return err;
	}
	k_msleep(20);

	err = i2c_read_dt(&bus, raw, words * 3);
	if (err) {
		return err;
	}
	for (int i = 0; i < words; i++) {
		if (crc8(&raw[i * 3]) != raw[i * 3 + 2]) {
			return -EIO;
		}
		out[i] = ((uint16_t)raw[i * 3] << 8) | raw[i * 3 + 1];
	}
	return 0;
}

static void acc_reset(void)
{
	acc.pm25 = SEN5X_UNKNOWN_U;
	acc.pm10 = SEN5X_UNKNOWN_U;
	acc.temp = SEN5X_UNKNOWN_S;
	acc.rh   = SEN5X_UNKNOWN_S;
	acc.voc  = SEN5X_UNKNOWN_S;
	acc.alive = false;
}

/* Which model is on the bus - handy on a bench, and it is the one read that
 * proves the wiring before the fan even spins up. */
static void print_product_name(void)
{
	uint16_t w[MAX_WORDS];
	char name[2 * MAX_WORDS + 1] = { 0 };

	if (read_words(CMD_READ_PRODUCT_NAME, w, MAX_WORDS) != 0) {
		return;
	}
	for (int i = 0; i < MAX_WORDS; i++) {
		name[2 * i]     = (char)(w[i] >> 8);
		name[2 * i + 1] = (char)w[i];
	}
	/* SEN50 has no RH/T/gas, SEN54 has no NOx - both just report 0xFFFF
	 * for what they do not have, so nothing below branches on this. */
	printk("[SEN5x] %s\n", name);
}

int sen5x_start(void)
{
	int err;

	acc_reset();

	if (!device_is_ready(bus.bus)) {
		printk("[SEN5x] i2c2 not ready\n");
		return -ENODEV;
	}

	print_product_name();

	err = send_cmd(CMD_START_MEASUREMENT);
	if (err) {
		printk("[SEN5x] no answer at 0x%02x (%d) - check 5 V, SEL to GND, "
		       "and the pull-ups\n", bus.addr, err);
		return err;
	}
	k_msleep(50);   /* command execution time, 6.1 */

	running = true;
	printk("[READY] SEN5x measuring (PM stabilises after ~30 s of fan)\n");
	return 0;
}

void sen5x_poll(void)
{
	uint16_t w[8];

	if (!running) {
		return;
	}
	/*
	 * Read Measured Values without checking the Data-Ready flag: it always
	 * returns the latest sample (6.1.5), and polling the flag first would
	 * double the bus traffic to avoid re-reading a value we fold in
	 * idempotently anyway - a peak stays the same peak.
	 */
	if (read_words(CMD_READ_MEASURED, w, 8) != 0) {
		return;
	}

	/*
	 * PM is peak-held and RH/T/VOC are last-value on purpose. A dust event
	 * lasting ten seconds inside a 30 s window is the whole point of the
	 * record - averaging it away would hide exactly what this is for -
	 * while ambient temperature moves slowly enough that the last sample
	 * describes the window as well as any average would.
	 */
	if (w[1] != 0xFFFF && (acc.pm25 == SEN5X_UNKNOWN_U || w[1] > acc.pm25)) {
		acc.pm25 = w[1];
	}
	if (w[3] != 0xFFFF && (acc.pm10 == SEN5X_UNKNOWN_U || w[3] > acc.pm10)) {
		acc.pm10 = w[3];
	}
	if (w[4] != 0xFFFF) {
		acc.rh = (int16_t)w[4];             /* already 0.01 %RH */
	}
	if (w[5] != 0xFFFF) {
		acc.temp = (int16_t)w[5] / 2;       /* 1/200 C -> 0.01 C */
	}
	if (w[6] != 0xFFFF) {
		acc.voc = (int16_t)w[6];            /* already 0.1 index */
	}
	acc.alive = true;

	/* w[0] PM1.0, w[2] PM4.0 and w[7] NOx are read and dropped: they cost
	 * nothing extra on the bus (one command returns all eight) and 6 more
	 * bytes per record for numbers nothing downstream shows. */
}

void sen5x_window_take(struct sen5x_window *out)
{
	uint16_t st[2];

	if (acc.alive && read_words(CMD_READ_STATUS, st, 2) == 0) {
		uint32_t status = ((uint32_t)st[0] << 16) | st[1];

		if (status & STATUS_FATAL) {
			printk("[SEN5x] device status 0x%08x - fan or laser fault\n",
			       status);
			acc.alive = false;
		}
	}

	*out = acc;
	acc_reset();
}
```

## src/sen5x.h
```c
/*
 * Sensirion SEN5x environmental node (PM / RH / T / VOC) on i2c2.
 *
 * Deliberately not a Zephyr sensor driver: there is one consumer, three
 * commands and no other board to share it with. Same shape as radar.h - poll
 * it, then take the window when the record is due.
 */
#ifndef SEN5X_H_
#define SEN5X_H_

#include <stdbool.h>
#include <stdint.h>

/*
 * "Not measured". The sensor returns 0xFFFF for anything it does not have -
 * a SEN50 has no RH/T/gas at all, and every field reads 0xFFFF before the
 * first conversion. Signed fields use INT16_MAX instead, because 0xFFFF is
 * -1 there and -0.01 C is a perfectly plausible reading.
 */
#define SEN5X_UNKNOWN_U   UINT16_MAX
#define SEN5X_UNKNOWN_S   INT16_MAX

struct sen5x_window {
	uint16_t pm25;   /* 0.1 ug/m3, highest sample in the window */
	uint16_t pm10;   /* 0.1 ug/m3, highest sample in the window */
	int16_t  temp;   /* 0.01 C, last good sample */
	int16_t  rh;     /* 0.01 %RH, last good sample */
	int16_t  voc;    /* 0.1 index, last good sample (SEN54/SEN55 only) */
	bool     alive;  /* a good read this window, and no fan/laser fault */
};

/* Probes the sensor, prints which model it is, and starts Measurement-Mode.
 * Non-zero means no sensor: poll/take then keep returning "unknown". */
int sen5x_start(void);

/* One sample, folded into the current window. Call about once a second -
 * the module produces a new reading every 1 s. Blocks ~20 ms on the bus. */
void sen5x_poll(void);

/* Hands over the window and starts the next one. */
void sen5x_window_take(struct sen5x_window *out);

#endif /* SEN5X_H_ */
```

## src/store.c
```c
#include <zephyr/kernel.h>
#include <zephyr/drivers/flash.h>
#include <zephyr/storage/flash_map.h>
#include <zephyr/kvss/nvs.h>
#include <errno.h>
#include <string.h>

#include "store.h"

/*
 * One NVS entry per record, id = NVS_ID_REC0 + (seq % STORE_CAPACITY), so the
 * ring drops the oldest for free. Deliberately NOT batching writes: the record
 * struct is 24 B in flash plus an 8 B NVS ATE, and at 30 s a full day is
 * 2880 * 32 = ~90 KB against the 160 KB partition - a few hundred sector
 * erases a year against a 10k endurance rating. Batching would only buy wear we
 * do not need, and would cost up to a batch of records on power loss.
 */
#define NVS_ID_META   1
#define NVS_ID_FORMAT 2
#define NVS_ID_FLOOR  3
#define NVS_ID_REC0   0x100

/*
 * What shape the stored records are. nvs_read() asks for exactly
 * sizeof(struct sntl_record) and returns -ENOENT on a short entry, so records
 * written by an older firmware are unreadable after the struct grows - and
 * they still sit in flash taking up the ring, never rewritten, so NVS never
 * reclaims them either. Erase on a format change instead. seq survives it:
 * the server dedupes on (device_id, seq), so restarting the counter at 0 would
 * make every new record collide with an old one and get dropped.
 */
#define NVS_FORMAT    ((uint16_t)sizeof(struct sntl_record))

struct meta {
	uint32_t next_seq;
	uint32_t base_sec;   /* device seconds at the last append */
};

static struct nvs_fs fs;
static struct meta meta;
static uint32_t boot_offset;   /* device seconds at this boot */
static uint32_t floor_seq;     /* nothing below this is held any more */
K_MUTEX_DEFINE(lock);   /* main loop appends, BLE thread reads */

uint32_t store_now(void)
{
	return boot_offset + (uint32_t)(k_uptime_get() / 1000);
}

int store_init(void)
{
	struct flash_pages_info info;
	int err;

	fs.flash_device = PARTITION_DEVICE(storage_partition);
	if (!device_is_ready(fs.flash_device)) {
		return -ENODEV;
	}
	fs.offset = PARTITION_OFFSET(storage_partition);
	err = flash_get_page_info_by_offs(fs.flash_device, fs.offset, &info);
	if (err) {
		return err;
	}
	fs.sector_size = info.size;
	fs.sector_count = PARTITION_SIZE(storage_partition) / info.size;

	err = nvs_mount(&fs);
	if (err) {
		return err;
	}

	if (nvs_read(&fs, NVS_ID_META, &meta, sizeof(meta)) != sizeof(meta)) {
		meta.next_seq = 0;
		meta.base_sec = 0;
	}

	uint16_t format = 0;

	nvs_read(&fs, NVS_ID_FORMAT, &format, sizeof(format));
	if (format != NVS_FORMAT) {
		printk("[STORE] record format %u -> %u: dropping stored records, "
		       "keeping seq at %u\n", format, NVS_FORMAT, meta.next_seq);
		err = nvs_clear(&fs);
		if (err) {
			return err;
		}
		err = nvs_mount(&fs);   /* clear leaves the fs unmounted */
		if (err) {
			return err;
		}
		format = NVS_FORMAT;
		/*
		 * Without this the ring would still claim every seq back to
		 * next_seq - STORE_CAPACITY, and a dump would answer with a
		 * few hundred fault records for data that was just erased.
		 */
		floor_seq = meta.next_seq;
		if (nvs_write(&fs, NVS_ID_FORMAT, &format, sizeof(format)) < 0 ||
		    nvs_write(&fs, NVS_ID_FLOOR, &floor_seq, sizeof(floor_seq)) < 0 ||
		    nvs_write(&fs, NVS_ID_META, &meta, sizeof(meta)) < 0) {
			return -EIO;
		}
	} else {
		nvs_read(&fs, NVS_ID_FLOOR, &floor_seq, sizeof(floor_seq));
	}
	/* Resume the clock where the last append left it. The powered-off gap
	 * is unknowable without an RTC - that is what RTC_UNSET is for. */
	boot_offset = meta.base_sec;
	return 0;
}

uint32_t store_next_seq(void)
{
	return meta.next_seq;
}

uint32_t store_oldest_seq(void)
{
	uint32_t ring = (meta.next_seq > STORE_CAPACITY)
			? meta.next_seq - STORE_CAPACITY : 0;

	return (floor_seq > ring) ? floor_seq : ring;
}

int store_append(struct sntl_record *rec)
{
	int err;

	k_mutex_lock(&lock, K_FOREVER);

	rec->seq = meta.next_seq;
	rec->ts  = store_now();

	err = nvs_write(&fs, NVS_ID_REC0 + (rec->seq % STORE_CAPACITY), rec, sizeof(*rec));
	if (err < 0) {
		k_mutex_unlock(&lock);
		return err;
	}

	meta.next_seq++;
	meta.base_sec = rec->ts;
	err = nvs_write(&fs, NVS_ID_META, &meta, sizeof(meta));

	k_mutex_unlock(&lock);
	return (err < 0) ? err : 0;
}

int store_get(uint32_t seq, struct sntl_record *out)
{
	ssize_t n;

	if (seq >= meta.next_seq || seq < store_oldest_seq()) {
		return -ENOENT;
	}

	k_mutex_lock(&lock, K_FOREVER);
	n = nvs_read(&fs, NVS_ID_REC0 + (seq % STORE_CAPACITY), out, sizeof(*out));
	k_mutex_unlock(&lock);

	if (n != sizeof(*out)) {
		return -ENOENT;
	}
	/* Slot may already have been recycled by a newer seq mid-read. */
	return (out->seq == seq) ? 0 : -ENOENT;
}
```

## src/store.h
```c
/*
 * Flash-backed ring of occupancy + air quality records.
 *
 * Holds 24 h at one record per STORE_PERIOD_S. seq is monotonic and survives
 * reset - the app and server dedupe on (device_id, seq), so restarting at 0
 * would make new data collide with old and get dropped.
 */
#ifndef STORE_H_
#define STORE_H_

#include <stdint.h>

#include "frame.h"

/*
 * TEST BUILD: 30 s, matching the air-quality node's test setting. Put this back
 * to 60 before shipping, or change the app's samplePeriod and the server's
 * SAMPLE_PERIOD_SECONDS to match - they compute "time occupied" by multiplying
 * record counts by this.
 *
 * Must stay <= 255: occ_s is one byte of the window, and dwell_s is a u16.
 */
#define STORE_PERIOD_S   30
#define STORE_CAPACITY   (24 * 3600 / STORE_PERIOD_S)   /* always 24 h */

int store_init(void);

/* Fills in seq and ts, then persists. Safe to call from any thread. */
int store_append(struct sntl_record *rec);

/* seq that will be handed to the next appended record. */
uint32_t store_next_seq(void);

/* Oldest seq still in the ring (0 until it has wrapped). */
uint32_t store_oldest_seq(void);

/* 0 on success, -ENOENT if that seq is no longer held. */
int store_get(uint32_t seq, struct sntl_record *out);

/* Device seconds since first ever boot. Not wall clock - records carry
 * SNTL_FLAG_RTC_UNSET until something sets the time. */
uint32_t store_now(void);

#endif /* STORE_H_ */
```
